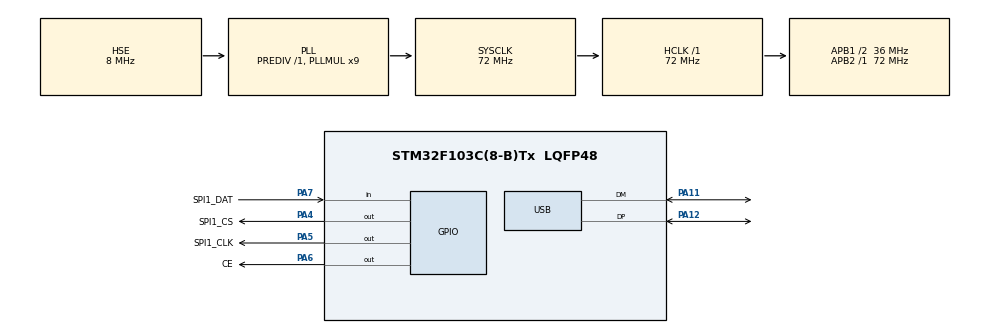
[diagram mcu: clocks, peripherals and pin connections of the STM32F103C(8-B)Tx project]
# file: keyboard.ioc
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Mcu.Family=STM32F1
Mcu.Name=STM32F103C(8-B)Tx
Mcu.Package=LQFP48
NVIC.PriorityGroup=NVIC_PRIORITYGROUP_4
NVIC.TIM1_UP_IRQn=true\:0\:0\:false\:false\:true\:true\:true\:true
NVIC.USB_LP_CAN1_RX0_IRQn=true\:0\:0\:false\:false\:true\:false\:true\:true
PA11.Mode=Device
PA11.Signal=USB_DM
PA12.Mode=Device
PA12.Signal=USB_DP
PA13.Mode=Serial_Wire
PA13.Signal=SYS_JTMS-SWDIO
PA14.Mode=Serial_Wire
PA14.Signal=SYS_JTCK-SWCLK
PA4.GPIO_Label=SPI1_CS
PA4.Signal=GPIO_Output
PA5.GPIO_Label=SPI1_CLK
PA5.Signal=GPIO_Output
PA6.GPIO_Label=CE
PA6.Signal=GPIO_Output
PA7.GPIO_Label=SPI1_DAT
PA7.GPIO_PuPd=GPIO_NOPULL
PA7.Signal=GPIO_Input
PD0-OSC_IN.Mode=HSE-External-Oscillator
PD0-OSC_IN.Signal=RCC_OSC_IN
PD1-OSC_OUT.Mode=HSE-External-Oscillator
PD1-OSC_OUT.Signal=RCC_OSC_OUT
ProjectManager.HeapSize=0x800
ProjectManager.StackSize=0x600
ProjectManager.TargetToolchain=MDK-ARM V5.32
RCC.AHBFreq_Value=72000000
RCC.APB1CLKDivider=RCC_HCLK_DIV2
RCC.APB1Freq_Value=36000000
RCC.APB1TimFreq_Value=72000000
RCC.APB2Freq_Value=72000000
RCC.APB2TimFreq_Value=72000000
RCC.HCLKFreq_Value=72000000
RCC.PLLMUL=RCC_PLL_MUL9
RCC.SYSCLKFreq_VALUE=72000000
RCC.SYSCLKSource=RCC_SYSCLKSOURCE_PLLCLK
RCC.USBFreq_Value=48000000
RCC.USBPrescaler=RCC_USBCLKSOURCE_PLL_DIV1_5
TIM1.AutoReloadPreload=TIM_AUTORELOAD_PRELOAD_ENABLE
TIM1.Period=1000-1
TIM1.Prescaler=72-1
USB_DEVICE.CLASS_NAME_FS=CUSTOM_HID
USB_DEVICE.MANUFACTURER_STRING=STM32_KEYBOARD
USB_DEVICE.USBD_CUSTOMHID_OUTREPORT_BUF_SIZE=64
USB_DEVICE.USBD_CUSTOM_HID_REPORT_DESC_SIZE=41
USB_DEVICE.VirtualMode=CustomHid
USB_DEVICE.VirtualModeFS=Custom_Hid_FS
VP_TIM1_VS_ClockSourceINT.Mode=Internal
VP_USB_DEVICE_VS_USB_DEVICE_CUSTOM_HID_FS.Mode=CUSTOM_HID_FS
board=custom

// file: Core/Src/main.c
/* USER CODE BEGIN Header */
/**
  ******************************************************************************
  * @file           : main.c
  * @brief          : Main program body
  ******************************************************************************
  * @attention
  *
  * Copyright (c) 2023 STMicroelectronics.
  * All rights reserved.
  *
  * This software is licensed under terms that can be found in the LICENSE file
  * in the root directory of this software component.
  * If no LICENSE file comes with this software, it is provided AS-IS.
  *
  ******************************************************************************
  */
/* USER CODE END Header */
#include "main.h"
#include "tim.h"
#include "usb_device.h"
#include "gpio.h"

/* USER CODE BEGIN Includes */
#include "usbd_customhid.h"
#include "HC165.h"
extern USBD_HandleTypeDef hUsbDeviceFS;
uint8_t value[13]={0};

/* USER CODE END Includes */

void SystemClock_Config(void);

int main(void)
{

  /* MCU Configuration--------------------------------------------------------*/

  /* Reset of all peripherals, Initializes the Flash interface and the Systick. */
  HAL_Init();

  /* Configure the system clock */
  SystemClock_Config();

  /* Initialize all configured peripherals */
  MX_GPIO_Init();
  MX_USB_DEVICE_Init();
  MX_TIM1_Init();
  /* USER CODE BEGIN 2 */
	uint8_t report[8]={0X00,0X00,0X00,0X00,0X00,0X00,0X00,0X00};
	HAL_TIM_Base_Start_IT(&htim1);

  //uint8_t key[2]={0X00,0X00};
	//uint16_t value=0x0000;
  /* USER CODE END 2 */

  /* Infinite loop */
  while (1)
  {

	}
}

void SystemClock_Config(void)
{
  RCC_OscInitTypeDef RCC_OscInitStruct = {0};
  RCC_ClkInitTypeDef RCC_ClkInitStruct = {0};
  RCC_PeriphCLKInitTypeDef PeriphClkInit = {0};

  /** Initializes the RCC Oscillators according to the specified parameters
  * in the RCC_OscInitTypeDef structure.
  */
  RCC_OscInitStruct.OscillatorType = RCC_OSCILLATORTYPE_HSE;
  RCC_OscInitStruct.HSEState = RCC_HSE_ON;
  RCC_OscInitStruct.HSEPredivValue = RCC_HSE_PREDIV_DIV1;
  RCC_OscInitStruct.HSIState = RCC_HSI_ON;
  RCC_OscInitStruct.PLL.PLLState = RCC_PLL_ON;
  RCC_OscInitStruct.PLL.PLLSource = RCC_PLLSOURCE_HSE;
  RCC_OscInitStruct.PLL.PLLMUL = RCC_PLL_MUL9;
  if (HAL_RCC_OscConfig(&RCC_OscInitStruct) != HAL_OK)
  {

    Error_Handler();
  }

  /** Initializes the CPU, AHB and APB buses clocks
  */
  RCC_ClkInitStruct.ClockType = RCC_CLOCKTYPE_HCLK|RCC_CLOCKTYPE_SYSCLK
                              |RCC_CLOCKTYPE_PCLK1|RCC_CLOCKTYPE_PCLK2;
  RCC_ClkInitStruct.SYSCLKSource = RCC_SYSCLKSOURCE_PLLCLK;
  RCC_ClkInitStruct.AHBCLKDivider = RCC_SYSCLK_DIV1;
  RCC_ClkInitStruct.APB1CLKDivider = RCC_HCLK_DIV2;
  RCC_ClkInitStruct.APB2CLKDivider = RCC_HCLK_DIV1;

  if (HAL_RCC_ClockConfig(&RCC_ClkInitStruct, FLASH_LATENCY_2) != HAL_OK)
  {
    Error_Handler();
  }
  PeriphClkInit.PeriphClockSelection = RCC_PERIPHCLK_USB;
  PeriphClkInit.UsbClockSelection = RCC_USBCLKSOURCE_PLL_DIV1_5;
  if (HAL_RCCEx_PeriphCLKConfig(&PeriphClkInit) != HAL_OK)
  {
    Error_Handler();
  }
}

/* USER CODE BEGIN 4 */
uint8_t hidbuffer[17];
uint8_t hid_num[13][8]={{5,3,7,5,2,2,4,5},
												{17,18,3,4,3,3,3,5},
//												{11,14,14,13,12,12,12,12},
//												{14,13,13,13,13,13,13,13},
//												{11,11,11,12,12,12,11,14},
//												{7,8,7,1,1,11,11,11},
//												{8,1,1,18,9,8,8,7},
//												{3,4,8,3,4,7,7,3},
//												{2,7,4,3,3,6,6,4},
//												{2,5,3,5,6,6,5,3},
//												{5,5,2,4,6,6,4,3},
//												{5,4,2,5,6,6,3,4},
//												{1,1,1,1,9,7,8,5}
												};
uint8_t hid_report[13][8]={
{0X10,0X08,0x10,0X04,0X80,0X10,0X40,0X04},//1
{0X00,0X00,0x80,0x04,0x40,0X10,0X20,0X01},//2
//{0X20,0X02,0X01,0X80,0X40,��0X20,0X10,0X08},//3
//{0X20,0X02,0X01,0X80,0X40,0X20,0X10,0X08},//4
//{0X08,0X01,0X02,0X04,0X08,0X40,0X20,0X10},//5
//{0X04,0X02,0X01,0X20,0X10,0X02,0X04,0X08},//6
//{0X80,0X40,0X80,0X08,0X01,0X10,0X01,0X40},//7
//{0X40,0X01,0X40,0X80,0X08,0X20,0X80,0X08},//8
//{0X20,0X10,0X02,0X20,0X10,0X40,0X80,0X04},//9
//{0X40,0X02,0X04,0X10,0X10,0X20,0X01,0X08},//10
//{0X20,0X08,0X80,0X20,0X04,0X08,0X80,0X02},//11
//{0X80,0X10,0X10,0X04,0X01,0X02,0X01,0X40},//12
//{0X04,0X08,0X01,0X02,0X02,0X08,0X20,0X40},//13
};
void DelayUs(uint32_t _us)
{
    for (int i = 0; i < _us; i++)
        for (int j = 0; j < 8; j++)  // ToDo: tune this for different chips
            __NOP();
}

uint8_t report[8]={0};

void HAL_TIM_PeriodElapsedCallback(TIM_HandleTypeDef *htim)
{
  if(htim->Instance == TIM1)
  {
    memset(hidbuffer,0,17);
    hidbuffer[0] = 1;
		read_couple();

		for(int i=0;i<=1;i++)

		{
			for(int j=0;j<8;j++)
			{
				if((value[i]&(0x80>>j))==0)
				{
					hidbuffer[hid_num[i][j]]=hidbuffer[hid_num[i][j]]|hid_report[i][j];

				}
			}

		}

				USBD_CUSTOM_HID_SendReport(&hUsbDeviceFS,hidbuffer,17);

//		else
//		{
//			USBD_CUSTOM_HID_SendReport(&hUsbDeviceFS,hidbuffer,17);
//
//		}

	}
}
	/* USER CODE END 4 */

void Error_Handler(void)
{
  /* USER CODE BEGIN Error_Handler_Debug */
  /* User can add his own implementation to report the HAL error return state */
  __disable_irq();
//  while (1)
//  {
//  }
  /* USER CODE END Error_Handler_Debug */
}
